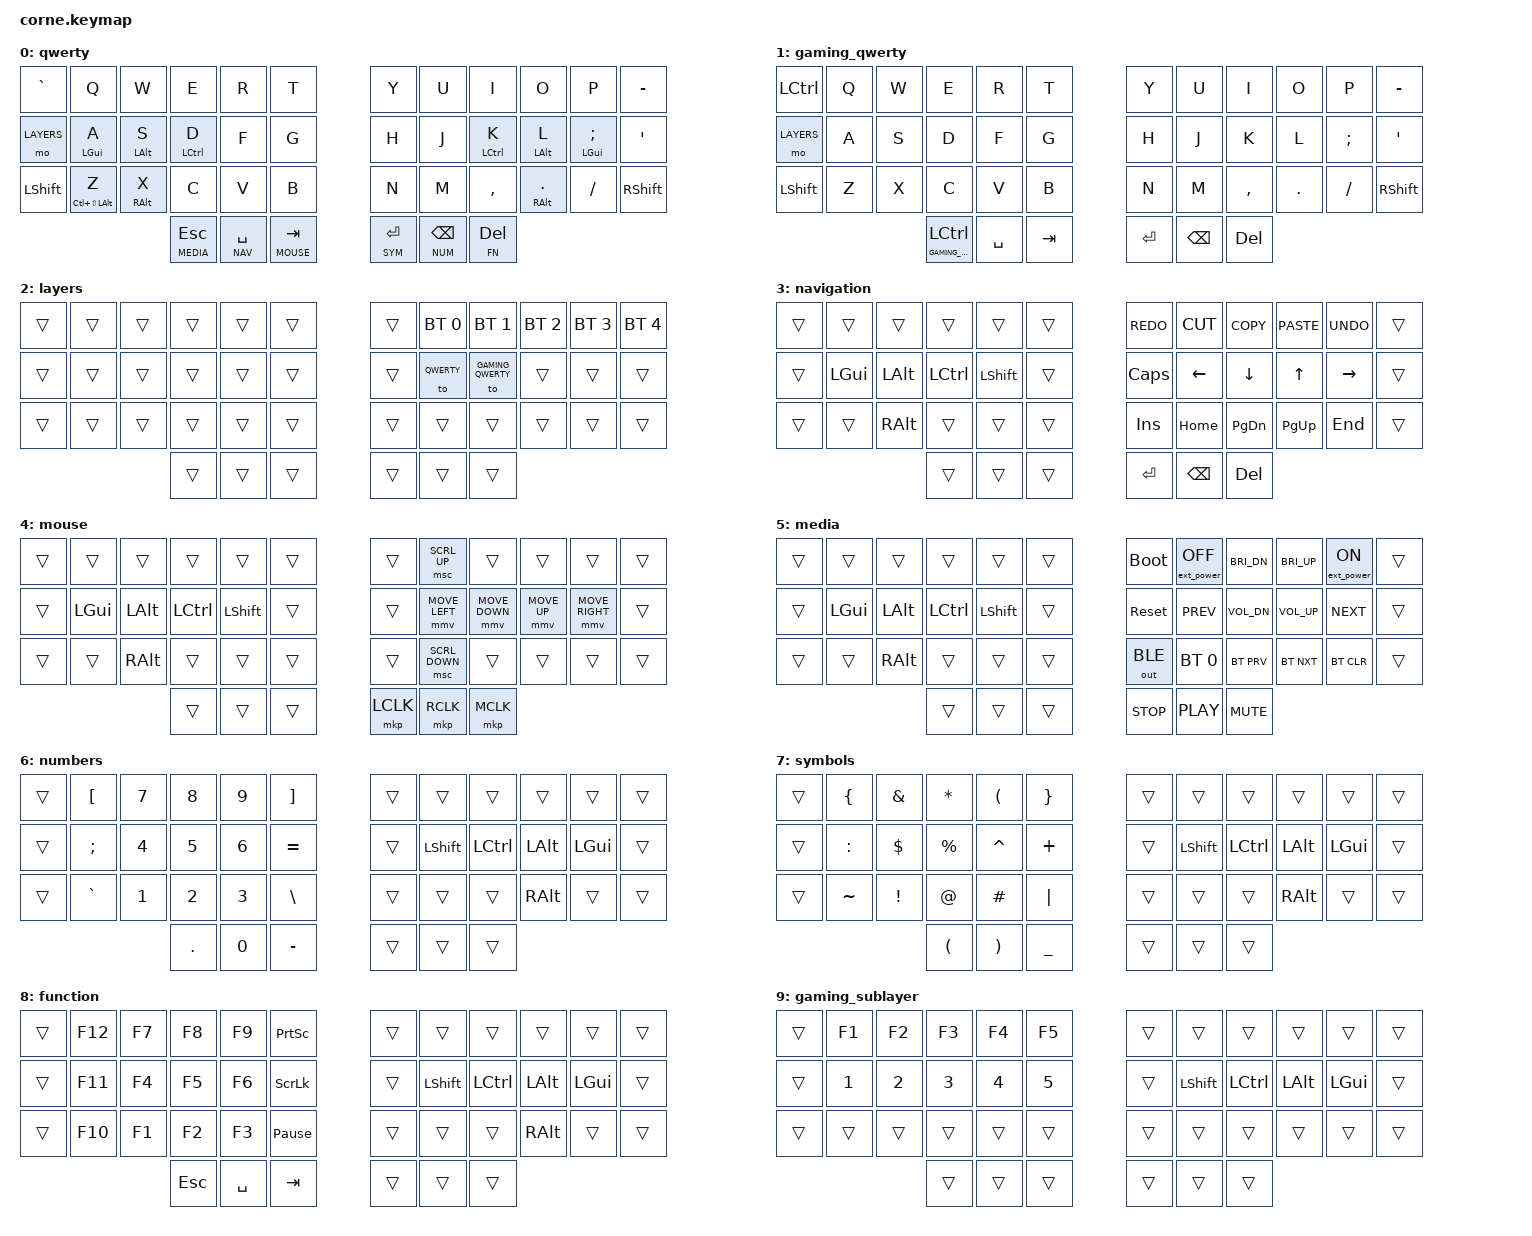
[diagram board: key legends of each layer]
/*
 * Copyright (c) 2020 The ZMK Contributors
 *
 * SPDX-License-Identifier: MIT
 */

#include <behaviors.dtsi>
#include <dt-bindings/zmk/bt.h>
#include <dt-bindings/zmk/ext_power.h>
#include <dt-bindings/zmk/keys.h>
#include <dt-bindings/zmk/keys.h>
#include <dt-bindings/zmk/outputs.h>
#include <dt-bindings/zmk/mouse.h>

// Layer Definitions

#define QWERTY 0
#define GAMING_QWERTY 1
#define LAYERS 2
#define NAV 3
#define MOUSE 4
#define MEDIA 5
#define NUM 6
#define SYM 7
#define FN 8
#define GAMING_SUBLAYER 9

// Behavior configuration

&mt {
    tapping-term-ms = <185>;
    quick_tap_ms = <0>;
    flavor = "tap-preferred";
};

&lt {
    tapping-term-ms = <170>;
    quick_tap_ms = <0>;
    flavor = "tap-preferred";
};

&sk {
    release-after-ms = <500>;
    quick-release;
};

/ {
    keymap {
        compatible = "zmk,keymap";

        qwerty {
            // -----------------------------------------------------------------------------------------------------------------------------
            // |        |     Q     |   W    |     E     |     R     |     T     | # |     Y     |    U     |    I    |    Y   |   P    |     |
            // | LAYERS |   A/LGUI  | S/LALT |  D/LCTRL  |  F/LSHFT  |     G     | # |     H     | J/LSHFT  | K/LCTRL | L/LALT | ;/LGUI |     |
            // |        |   Z/Meh   | X/RALT |     C     |     V     |     B     | # |     N     |    M     |    ,    | ./RALT |   /    |     |
            //                            | ESC/MEDIA | SPACE/NAV | TAB/MOUSE | # | ENTER/SYM | BSPC/NUM | DEL/FN  |

            bindings = <
&kp GRAVE   &kp Q               &kp W       &kp E          &kp R          &kp T            &kp Y          &kp U         &kp I        &kp O         &kp P  &kp MINUS
&mo LAYERS  &mt LGUI A          &mt LALT S  &mt LCTRL D    &kp F          &kp G            &kp H          &kp J         &mt LCTRL K  &mt LALT L    &mt LGUI SEMICOLON     &kp SQT
&kp LSHIFT  &mt LC(LS(LALT)) Z  &mt RALT X  &kp C          &kp V          &kp B            &kp N          &kp M         &kp COMMA    &mt RALT DOT  &kp FSLH               &kp RSHIFT
                                            &lt MEDIA ESC  &lt NAV SPACE  &lt MOUSE TAB    &lt SYM ENTER  &lt NUM BSPC  &lt FN DEL
            >;
        };

        gaming_qwerty {
            // ----------------------------------------------------------------------------------------------------
            // |        |   Q   |   W   |   E   |   R   |   T   | # |   Y   |   U   |   I   |   O   |   P   |     |
            // | LAYERS |   A   |   S   |   D   |   F   |   G   | # |   H   |   J   |   K   |   L   |   ;   |     |
            // |        |   Z   |   X   |   C   |   V   |   B   | # |   N   |   M   |   ,   |   .   |   /   |     |
            //                          |  ESC  | SPACE |  TAB  | # | ENTER | BSPC  |  DEL  |

            bindings = <
&kp LEFT_CONTROL  &kp Q  &kp W  &kp E                      &kp R      &kp T      &kp Y      &kp U     &kp I      &kp O    &kp P     &kp MINUS
&mo LAYERS        &kp A  &kp S  &kp D                      &kp F      &kp G      &kp H      &kp J     &kp K      &kp L    &kp SEMI  &kp SQT
&kp LSHFT         &kp Z  &kp X  &kp C                      &kp V      &kp B      &kp N      &kp M     &kp COMMA  &kp DOT  &kp FSLH  &kp RSHFT
                                &lt GAMING_SUBLAYER LCTRL  &kp SPACE  &kp TAB    &kp ENTER  &kp BSPC  &kp DEL
            >;
        };

        layers {
            // ---------------------------------------------------------------------------------------------
            // |      |     |     |     |     |     | # |     | BT HOME |     BT WORK    |     |     |     |
            // | HELD |     |     |     |     |     | # |     | QWERTY  | GAMING_QWERTY  |     |     |     |
            // |      |     |     |     |     |     | # |     |         |                |     |     |     |
            //                    |     |     |     | # |     |         |                |

            bindings = <
&trans  &trans  &trans  &trans  &trans  &trans    &trans  &bt BT_SEL 0  &bt BT_SEL 1       &bt BT_SEL 2  &bt BT_SEL 3  &bt BT_SEL 4
&trans  &trans  &trans  &trans  &trans  &trans    &trans  &to QWERTY   &to GAMING_QWERTY  &trans        &trans        &trans
&trans  &trans  &trans  &trans  &trans  &trans    &trans  &trans        &trans             &trans        &trans        &trans
                        &trans  &trans  &trans    &trans  &trans        &trans
            >;
        };

        navigation {
            // -------------------------------------------------------------------------------------------
            // |     |      |      |       |       |     | # | REDO  | CUT  | COPY | PASTE | UNDO  |     |
            // |     | LGUI | LALT | LCTRL | LSHFT |     | # | CAPS  | LEFT | DOWN | UP    | RIGHT |     |
            // |     |      | RALT |       |       |     | # | INS   | HOME | PGDN | PGUP  | END   |     |
            //                     |       | HELD  |     | # | ENTER | BSPC | DEL  |

            bindings = <
&trans  &trans    &trans    &trans     &trans     &trans    &kp K_REDO    &kp K_CUT  &kp K_COPY  &kp K_PASTE  &kp K_UNDO  &trans
&trans  &kp LGUI  &kp LALT  &kp LCTRL  &kp LSHFT  &trans    &kp CAPSLOCK  &kp LEFT   &kp DOWN    &kp UP       &kp RIGHT   &trans
&trans  &trans    &kp RALT  &trans     &trans     &trans    &kp INS       &kp HOME   &kp PG_DN   &kp PG_UP    &kp END     &trans
                            &trans     &trans     &trans    &kp ENTER     &kp BSPC   &kp DEL
            >;
        };

        mouse {
            // ------------------------------------------------------------------------------------
            // |     |      |      |       |       |      | # |     |     |     |     |     |     |
            // |     | LGUI | LALT | LCTRL | LSHFT |      | # |     |     |     |     |     |     |
            // |     |      | RALT |       |       |      | # |     |     |     |     |     |     |
            //                     |       |       | HELD | # |     |     |     |

            bindings = <
&trans  &trans    &trans    &trans     &trans     &trans    &trans  &msc SCRL_UP  &trans  &trans  &trans  &trans
&trans  &kp LGUI  &kp LALT  &kp LCTRL  &kp LSHFT  &trans    &trans  &mmv MOVE_LEFT  &mmv MOVE_DOWN  &mmv MOVE_UP  &mmv MOVE_RIGHT  &trans
&trans  &trans    &kp RALT  &trans     &trans     &trans    &trans  &msc SCRL_DOWN  &trans  &trans  &trans  &trans
                            &trans     &trans     &trans    &mkp LCLK  &mkp RCLK  &mkp MCLK
            >;
        };

        media {
            // -----------------------------------------------------------------------------------------------------
            // |     |      |      |       |       |      | # | BOOTLOAD | EP_OFF | BR_D   | BR_U   | EP_ON  |     |
            // |     | LGUI | LALT | LCTRL | LSHFT |      | # | RESET    | PREV   | VOL_D  | VOL_U  | NEXT   |     |
            // |     |      | RALT |       |       |      | # | OUT_BLE  | BT_0   | BT_PRV | BT_NXT | BT_CLR |     |
            //                     | HELD  |       |      | # | STOP     | PLAY   | MUTE   |

            bindings = <
&trans  &trans    &trans    &trans     &trans     &trans    &bootloader   &ext_power EP_OFF  &kp C_BRI_DN  &kp C_BRI_UP  &ext_power EP_ON  &trans
&trans  &kp LGUI  &kp LALT  &kp LCTRL  &kp LSHFT  &trans    &sys_reset    &kp C_PREV         &kp C_VOL_DN  &kp C_VOL_UP  &kp C_NEXT        &trans
&trans  &trans    &kp RALT  &trans     &trans     &trans    &out OUT_BLE  &bt BT_SEL 0       &bt BT_PRV    &bt BT_NXT    &bt BT_CLR        &trans
                            &trans     &trans     &trans    &kp C_STOP    &kp C_PLAY         &kp C_MUTE
            >;
        };

        numbers {
            // -----------------------------------------------------------------------------------
            // |     |  [  |  7  |  8  |  9  |  ]  | # |     |       |       |      |      |     |
            // |     |  ;  |  4  |  5  |  6  |  =  | # |     | LSHFT | LCTRL | LALT | LGUI |     |
            // |     |  `  |  1  |  2  |  3  |  \  | # |     |       |       | RALT |      |     |
            //                   |  .  |  0  |  -  | # |     | HELD  |       |

            bindings = <
&trans  &kp LBKT   &kp N7  &kp N8   &kp N9  &kp RBKT     &trans  &trans     &trans     &trans    &trans    &trans
&trans  &kp SEMI   &kp N4  &kp N5   &kp N6  &kp EQUAL    &trans  &kp LSHFT  &kp LCTRL  &kp LALT  &kp LGUI  &trans
&trans  &kp GRAVE  &kp N1  &kp N2   &kp N3  &kp BSLH     &trans  &trans     &trans     &kp RALT  &trans    &trans
                           &kp DOT  &kp N0  &kp MINUS    &trans  &trans     &trans
            >;
        };

        symbols {
            // ------------------------------------------------------------------------------------
            // |     |  {  |  &  |  *  |  ()  |  }  | # |      |       |       |      |      |     |
            // |     |  :  |  $  |  %  |  ^  |  +  | # |      | LSHFT | LCTRL | LALT | LGUI |     |
            // |     |  ~  |  !  |  @  |  #  |  |  | # |      |       |       | RALT |      |     |
            //                   |  (  |  )  |  _  | # | HELD |       |       |

            bindings = <
&trans  &kp LBRC   &kp AMPS  &kp ASTRK  &kp LPAR   &kp RBRC          &trans  &trans     &trans     &trans    &trans    &trans
&trans  &kp COLON  &kp DLLR  &kp PRCNT  &kp CARET  &kp PLUS          &trans  &kp LSHFT  &kp LCTRL  &kp LALT  &kp LGUI  &trans
&trans  &kp TILDE  &kp EXCL  &kp AT     &kp HASH   &kp PIPE          &trans  &trans     &trans     &kp RALT  &trans    &trans
                             &kp LPAR   &kp RPAR   &kp UNDERSCORE    &trans  &trans     &trans
            >;
        };

        function {
            // ------------------------------------------------------------------------------------------
            // |     |  F12 |  F7  |  F8  |  F9   | PSCRN | # |     |       |       |      |      |     |
            // |     |  F11 |  F4  |  F5  |  F6   | SLCK  | # |     | LSHFT | LCTRL | LALT | LGUI |     |
            // |     |  F10 |  F1  |  F2  |  F3   | PAUSE | # |     |       |       | RALT |      |     |
            //                     | ESC  | SPACE |  TAB  | # |     |       | HELD  |

            bindings = <
&trans  &kp F12  &kp F7  &kp F8   &kp F9     &kp PSCRN          &trans  &trans     &trans     &trans    &trans    &trans
&trans  &kp F11  &kp F4  &kp F5   &kp F6     &kp SLCK           &trans  &kp LSHFT  &kp LCTRL  &kp LALT  &kp LGUI  &trans
&trans  &kp F10  &kp F1  &kp F2   &kp F3     &kp PAUSE_BREAK    &trans  &trans     &trans     &kp RALT  &trans    &trans
                         &kp ESC  &kp SPACE  &kp TAB            &trans  &trans     &trans
            >;
        };

        gaming_sublayer {
            bindings = <
&trans  &kp F1  &kp F2  &kp F3  &kp F4  &kp F5    &trans  &trans     &trans     &trans    &trans    &trans
&trans  &kp N1  &kp N2  &kp N3  &kp N4  &kp N5    &trans  &kp LSHFT  &kp LCTRL  &kp LALT  &kp LGUI  &trans
&trans  &trans  &trans  &trans  &trans  &trans    &trans  &trans     &trans     &trans    &trans    &trans
                        &trans  &trans  &trans    &trans  &trans     &trans
            >;
        };
    };
};
